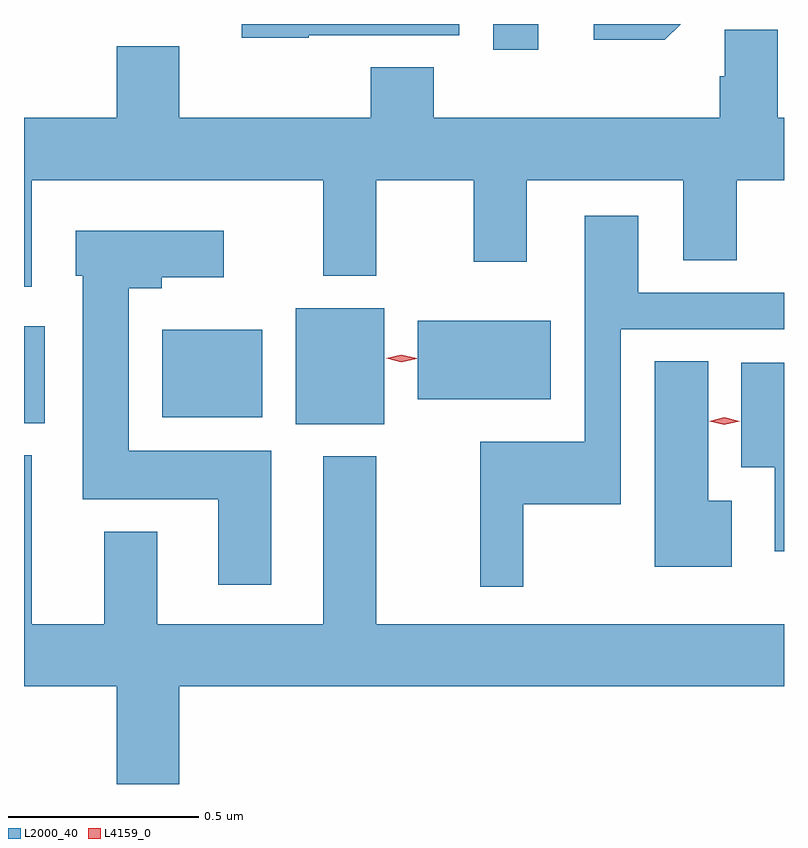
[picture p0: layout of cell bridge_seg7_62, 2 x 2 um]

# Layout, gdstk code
import gdstk
lib = gdstk.Library(unit=1e-6, precision=1e-09)
def R(c, l, rs):  # rectangles x0, y0, x1, y1
    for r in rs: c.add(gdstk.rectangle(r[:2], r[2:], *l))
def P(c, l, *ps):  # polygons
    for p in ps: c.add(gdstk.Polygon(p, *l))
L2000_40 = (2000, 40)
L4159_0 = (4159, 0)

bridge_seg7_62 = lib.new_cell('bridge_seg7_62')
R(bridge_seg7_62, L2000_40, [(896.747,1002.638,896.98,1002.943), (896.032,1002.641,896.086,1002.895), (896.396,1002.656,896.659,1002.886), (897.068,1002.704,897.418,1002.91), (897.267,1003.623,897.385,1003.691)])
P(bridge_seg7_62, L2000_40, [(897.76,1003.691),(897.531,1003.691),(897.531,1003.649),(897.718,1003.649)],
  [(896.781,1003.662),(897.177,1003.662),(897.177,1003.691),(896.605,1003.691),(896.605,1003.655),(896.781,1003.655)],
  [(896.053,1003.28),(896.819,1003.28),(896.819,1003.028),(896.959,1003.028),(896.959,1003.28),(897.215,1003.28),(897.215,1003.065),(897.355,1003.065),(897.355,1003.28),(897.767,1003.28),(897.767,1003.069),(897.907,1003.069),(897.907,1003.28),(898.032,1003.28),(898.032,1003.444),(898.015,1003.444),(898.015,1003.676),(897.876,1003.676),(897.876,1003.553),(897.863,1003.553),(897.863,1003.444),(897.11,1003.444),(897.11,1003.577),(896.945,1003.577),(896.945,1003.444),(896.44,1003.444),(896.44,1003.633),(896.276,1003.633),(896.276,1003.444),(896.032,1003.444),(896.032,1002.999),(896.053,1002.999)],
  [(897.346,1002.427),(897.603,1002.427),(897.603,1002.888),(898.032,1002.888),(898.032,1002.984),(897.649,1002.984),(897.649,1003.186),(897.507,1003.186),(897.507,1002.592),(897.232,1002.592),(897.232,1002.21),(897.346,1002.21)],
  [(896.683,1002.568),(896.308,1002.568),(896.308,1002.995),(896.395,1002.995),(896.395,1003.025),(896.557,1003.025),(896.557,1003.147),(896.168,1003.147),(896.168,1003.029),(896.186,1003.029),(896.186,1002.44),(896.543,1002.44),(896.543,1002.216),(896.683,1002.216)],
  [(897.895,1002.436),(897.832,1002.436),(897.832,1002.803),(897.692,1002.803),(897.692,1002.263),(897.895,1002.263)],
  [(898.032,1002.799),(897.92,1002.799),(897.92,1002.524),(898.007,1002.524),(898.007,1002.303),(898.032,1002.303)],
  [(896.44,1001.948),(898.032,1001.948),(898.032,1002.112),(896.959,1002.112),(896.959,1002.553),(896.819,1002.553),(896.819,1002.112),(896.383,1002.112),(896.383,1002.355),(896.243,1002.355),(896.243,1002.112),(896.053,1002.112),(896.053,1002.556),(896.032,1002.556),(896.032,1001.948),(896.276,1001.948),(896.276,1001.691),(896.44,1001.691)])
P(bridge_seg7_62, L4159_0, [(897.875,1002.636),(897.835,1002.646),(897.834,1002.646),(897.835,1002.646),(897.875,1002.656),(897.915,1002.646),(897.916,1002.646),(897.915,1002.646)],
  [(897.025,1002.801),(896.985,1002.811),(896.985,1002.811),(896.985,1002.811),(897.025,1002.821),(897.065,1002.811),(897.065,1002.811),(897.065,1002.81)])

lib.write_gds('bridge_seg7_62.gds')
